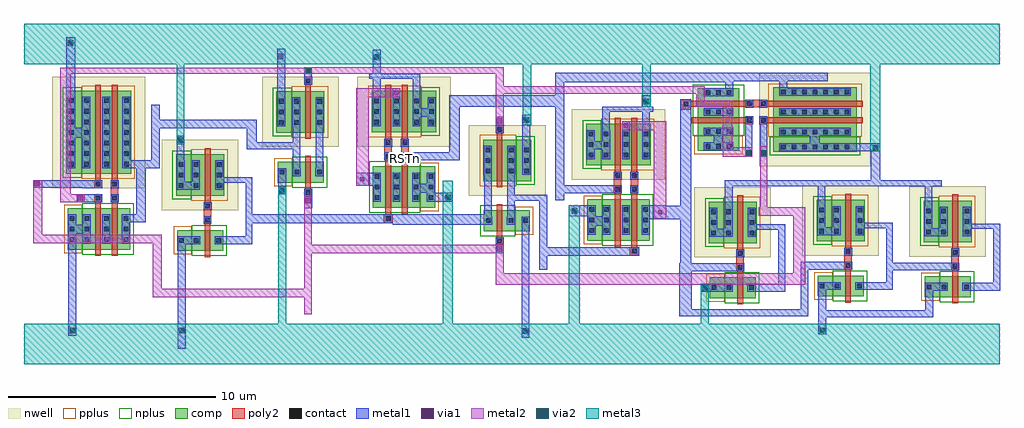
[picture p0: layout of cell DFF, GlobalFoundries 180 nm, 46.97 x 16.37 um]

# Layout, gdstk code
from math import pi, radians
import gdstk
lib = gdstk.Library(unit=1e-6, precision=5e-09)
def R(c, l, rs):  # rectangles x0, y0, x1, y1
    for r in rs: c.add(gdstk.rectangle(r[:2], r[2:], *l))
def A(c, l, x, y, w, h, nx, ny, dx, dy):  # array of equal rectangles
    R(c, l, [(x+i*dx, y+j*dy, x+i*dx+w, y+j*dy+h) for i in range(nx) for j in range(ny)])
nwell = (21, 0)
comp = (22, 0)
poly2 = (30, 0)
pplus = (31, 0)
nplus = (32, 0)
contact = (33, 0)
metal1 = (34, 0)
via1 = (35, 0)
metal2 = (36, 0)
via2 = (38, 0)
metal3 = (42, 0)

pfet_1 = lib.new_cell('pfet$1')
R(pfet_1, nwell, [(-11.885,-4.435,-8.195,-1.055)])
R(pfet_1, comp, [(-11.195,-3.745,-10.735,-1.745), (-10.735,-3.745,-10.075,-1.745), (-10.075,-3.745,-9.615,-1.745), (-9.615,-3.745,-8.885,-1.745)])
R(pfet_1, poly2, [(-10.545,-4.045,-10.265,-1.445), (-10.595,-1.445,-10.215,-1.065)])
R(pfet_1, pplus, [(-11.365,-3.985,-9.615,-1.505)])
R(pfet_1, nplus, [(-9.615,-3.915,-8.715,-1.575)])
A(pfet_1, contact, -11.075, -3.365, 0.22, 0.22, 1, 3, 0, 0.51)
A(pfet_1, contact, -9.955, -3.365, 0.22, 0.22, 1, 3, 0, 0.51)
A(pfet_1, contact, -9.225, -3.365, 0.22, 0.22, 1, 3, 0, 0.51)
R(pfet_1, contact, [(-10.515,-1.365,-10.295,-1.145)])
R(pfet_1, metal1, [(-11.155,-3.445,-10.775,-2.045), (-10.035,-3.445,-9.655,-2.045), (-9.305,-3.445,-8.925,-2.045), (-10.595,-1.445,-10.215,-1.065)])

nfet = lib.new_cell('nfet')
R(nfet, comp, [(-11.155,3.745,-10.735,4.745), (-10.735,3.745,-10.075,4.745), (-10.075,3.745,-9.655,4.745), (-9.655,3.745,-8.945,4.745)])
R(nfet, poly2, [(-10.545,3.445,-10.265,5.045), (-10.585,5.045,-10.225,5.405)])
R(nfet, pplus, [(-9.655,3.575,-8.775,4.915)])
R(nfet, nplus, [(-11.325,3.505,-9.655,4.985)])
R(nfet, contact, [(-11.055,4.135,-10.835,4.355), (-9.975,4.135,-9.755,4.355), (-9.265,4.135,-9.045,4.355), (-10.515,5.115,-10.295,5.335)])
R(nfet, metal1, [(-11.135,4.055,-10.755,4.435), (-10.055,4.055,-9.675,4.435), (-9.345,4.055,-8.965,4.435), (-10.595,5.035,-10.215,5.415)])

inv = lib.new_cell('INV')
R(inv, poly2, [(10.3,5.465,10.66,6.15)])
R(inv, metal1, [(9.42,4.115,9.75,4.495), (11.21,4.115,12.64,4.495), (12.325,4.115,12.64,7.35), (9.385,6.75,9.735,7.13), (10.855,7.09,12.64,7.35)])
inv.add(gdstk.Reference(pfet_1, (0.08,4.705), rotation=pi))
inv.add(gdstk.Reference(nfet, (0.075,0.06), rotation=pi, x_reflection=True))
inv.add(gdstk.Label('VDD', (9.53,6.88), layer=34, texttype=10))
inv.add(gdstk.Label('VSS', (9.545,4.325), layer=34, texttype=10))
inv.add(gdstk.Label('IN', (10.46,5.31), layer=34, texttype=10))
inv.add(gdstk.Label('OUT', (12.46,5.715), layer=34, texttype=10))

nfet_2 = lib.new_cell('nfet$2')
R(nfet_2, comp, [(14.065,-7.42,14.775,-6.42), (14.775,-7.42,15.195,-6.42), (15.195,-7.42,15.855,-6.42), (15.855,-7.42,16.275,-6.42)])
R(nfet_2, poly2, [(15.385,-7.72,15.665,-6.12), (15.345,-6.12,15.705,-5.76)])
R(nfet_2, pplus, [(13.895,-7.59,14.775,-6.25)])
R(nfet_2, nplus, [(14.775,-7.66,16.445,-6.18)])
R(nfet_2, contact, [(14.165,-7.03,14.385,-6.81), (14.875,-7.03,15.095,-6.81), (15.955,-7.03,16.175,-6.81), (15.415,-6.05,15.635,-5.83)])
R(nfet_2, metal1, [(14.085,-7.11,14.465,-6.73), (14.795,-7.11,15.175,-6.73), (15.875,-7.11,16.255,-6.73), (15.335,-6.13,15.715,-5.75)])

pfet_2 = lib.new_cell('pfet$2')
R(pfet_2, nwell, [(13.315,6.73,17.005,10.11)])
R(pfet_2, comp, [(14.005,7.42,14.735,9.42), (14.735,7.42,15.195,9.42), (15.195,7.42,15.855,9.42), (15.855,7.42,16.315,9.42)])
R(pfet_2, poly2, [(15.385,7.12,15.665,9.72), (15.335,9.72,15.715,10.1)])
R(pfet_2, pplus, [(14.735,7.18,16.485,9.66)])
R(pfet_2, nplus, [(13.835,7.25,14.735,9.59)])
A(pfet_2, contact, 14.125, 7.8, 0.22, 0.22, 1, 3, 0, 0.51)
A(pfet_2, contact, 14.855, 7.8, 0.22, 0.22, 1, 3, 0, 0.51)
A(pfet_2, contact, 15.975, 7.8, 0.22, 0.22, 1, 3, 0, 0.51)
R(pfet_2, contact, [(15.415,9.8,15.635,10.02)])
R(pfet_2, metal1, [(14.045,7.72,14.425,9.12), (14.775,7.72,15.155,9.12), (15.895,7.72,16.275,9.12), (15.335,9.72,15.715,10.1)])

tgate = lib.new_cell('TGATE')
R(tgate, metal1, [(13.89,6.535,14.26,7.4), (14.59,7.78,14.95,9.79), (15.69,7.78,16.05,9.84), (13.84,11.19,14.22,12.18)])
tgate.add(gdstk.Reference(nfet_2, (-0.205,0.67), x_reflection=True))
tgate.add(gdstk.Reference(pfet_2, (-0.205,2.07)))
tgate.add(gdstk.Label('CLKN', (15.25,11.9), layer=34, texttype=10))
tgate.add(gdstk.Label('CLK', (15.275,6.55), layer=34, texttype=10))
tgate.add(gdstk.Label('VDD', (14.045,11.94), layer=34, texttype=10))
tgate.add(gdstk.Label('VSS', (14.11,6.725), layer=34, texttype=10))
tgate.add(gdstk.Label('OUT', (14.805,8.635), layer=34, texttype=10))
tgate.add(gdstk.Label('IN', (15.9,8.605), layer=34, texttype=10))

nfet_1_1 = lib.new_cell('nfet$1$1')
R(nfet_1_1, comp, [(-20.95,7.41,-20.24,9.41), (-20.24,7.41,-19.82,9.41), (-19.82,7.41,-18.36,9.41), (-18.36,7.41,-17.94,9.41)])
R(nfet_1_1, poly2, [(-19.63,7.11,-19.35,9.71), (-18.83,7.11,-18.55,9.71), (-19.67,9.71,-19.31,10.07), (-18.87,9.71,-18.51,10.07)])
R(nfet_1_1, pplus, [(-21.12,7.24,-20.24,9.58)])
R(nfet_1_1, nplus, [(-20.24,7.17,-17.77,9.65)])
A(nfet_1_1, contact, -20.85, 7.79, 0.22, 0.22, 1, 3, 0, 0.51)
A(nfet_1_1, contact, -20.14, 7.79, 0.22, 0.22, 3, 3, 0.94, 0.51)
R(nfet_1_1, contact, [(-19.6,9.78,-19.38,10), (-18.8,9.78,-18.58,10)])
A(nfet_1_1, metal1, -20.22, 7.71, 0.38, 1.4, 3, 1, 0.94, 0)
R(nfet_1_1, metal1, [(-20.93,7.71,-20.55,9.11), (-19.68,9.7,-19.3,10.08), (-18.88,9.7,-18.5,10.08)])

pfet_1_1 = lib.new_cell('pfet$1$1')
R(pfet_1_1, nwell, [(-21.7,-8.1,-17.21,-4.72)])
R(pfet_1_1, comp, [(-21.01,-7.41,-20.28,-5.41), (-20.28,-7.41,-19.82,-5.41), (-19.82,-7.41,-18.36,-5.41), (-18.36,-7.41,-17.9,-5.41)])
R(pfet_1_1, poly2, [(-19.63,-7.71,-19.35,-5.11), (-18.83,-7.71,-18.55,-5.11), (-19.68,-5.11,-19.3,-4.73), (-18.88,-5.11,-18.5,-4.73)])
R(pfet_1_1, pplus, [(-20.28,-7.65,-17.73,-5.17)])
R(pfet_1_1, nplus, [(-21.18,-7.58,-20.28,-5.24)])
A(pfet_1_1, contact, -20.89, -7.03, 0.22, 0.22, 1, 3, 0, 0.51)
A(pfet_1_1, contact, -20.16, -7.03, 0.22, 0.22, 3, 3, 0.96, 0.51)
R(pfet_1_1, contact, [(-19.6,-5.03,-19.38,-4.81), (-18.8,-5.03,-18.58,-4.81)])
A(pfet_1_1, metal1, -20.24, -7.11, 0.38, 1.4, 3, 1, 0.96, 0)
R(pfet_1_1, metal1, [(-20.97,-7.11,-20.59,-5.71), (-19.68,-5.11,-19.3,-4.73), (-18.88,-5.11,-18.5,-4.73)])

nand2 = lib.new_cell('NAND2')
R(nand2, poly2, [(18.995,8.53,19.355,9.2), (19.795,8.53,20.155,9.2)])
R(nand2, metal1, [(20.325,6.595,21.415,7.04), (17.63,6.925,18.825,7.57), (20.345,10.265,21.455,10.655), (18.425,11.2,18.805,12.32), (19.385,11.2,19.765,11.63), (20.355,11.2,20.725,12.32), (18.255,12.085,20.725,12.32)])
R(nand2, via1, [(17.83,7.14,18.03,7.34), (19.475,11.315,19.675,11.515)])
R(nand2, metal2, [(17.63,6.925,18.23,9.205), (17.63,9.205,18.23,11.625), (17.695,11.195,19.765,11.63)])
nand2.add(gdstk.Reference(nfet_1_1, (0.485,-1.54), rotation=pi, x_reflection=True))
nand2.add(gdstk.Reference(pfet_1_1, (0.485,4.09), rotation=pi))
nand2.add(gdstk.Label('IN0', (19.975,8.655), layer=34, texttype=10))
nand2.add(gdstk.Label('IN1', (19.305,8.695), layer=34, texttype=10))
nand2.add(gdstk.Label('VDD', (21,10.465), layer=34, texttype=10))
nand2.add(gdstk.Label('VSS', (20.91,6.78), layer=34, texttype=10))
nand2.add(gdstk.Label('OUT', (18.005,9.455), layer=36, texttype=10))

nfet_3 = lib.new_cell('nfet$3')
R(nfet_3, comp, [(23.99,-5.085,24.41,-4.085), (24.41,-5.085,25.07,-4.085), (25.07,-5.085,25.49,-4.085), (25.49,-5.085,26.2,-4.085)])
R(nfet_3, poly2, [(24.6,-5.385,24.88,-3.785), (24.56,-3.785,24.92,-3.425)])
R(nfet_3, pplus, [(25.49,-5.255,26.37,-3.915)])
R(nfet_3, nplus, [(23.82,-5.325,25.49,-3.845)])
R(nfet_3, contact, [(24.09,-4.695,24.31,-4.475), (25.17,-4.695,25.39,-4.475), (25.88,-4.695,26.1,-4.475), (24.63,-3.715,24.85,-3.495)])
R(nfet_3, metal1, [(24.01,-4.775,24.39,-4.395), (25.09,-4.775,25.47,-4.395), (25.8,-4.775,26.18,-4.395), (24.55,-3.795,24.93,-3.415)])

pfet_3 = lib.new_cell('pfet$3')
R(pfet_3, nwell, [(23.26,4.395,26.95,7.775)])
R(pfet_3, comp, [(23.95,5.085,24.41,7.085), (24.41,5.085,25.07,7.085), (25.07,5.085,25.53,7.085), (25.53,5.085,26.26,7.085)])
R(pfet_3, poly2, [(24.6,4.785,24.88,7.385), (24.55,7.385,24.93,7.765)])
R(pfet_3, pplus, [(23.78,4.845,25.53,7.325)])
R(pfet_3, nplus, [(25.53,4.915,26.43,7.255)])
A(pfet_3, contact, 24.07, 5.465, 0.22, 0.22, 1, 3, 0, 0.51)
A(pfet_3, contact, 25.19, 5.465, 0.22, 0.22, 1, 3, 0, 0.51)
A(pfet_3, contact, 25.92, 5.465, 0.22, 0.22, 1, 3, 0, 0.51)
R(pfet_3, contact, [(24.63,7.465,24.85,7.685)])
R(pfet_3, metal1, [(23.99,5.385,24.37,6.785), (25.11,5.385,25.49,6.785), (25.84,5.385,26.22,6.785), (24.55,7.385,24.93,7.765)])

tgate_1 = lib.new_cell('TGATE$1')
R(tgate_1, metal1, [(25.595,4.2,25.965,5.065), (23.805,5.445,24.165,7.505), (24.905,5.445,25.265,7.455), (25.635,8.855,26.015,9.845)])
tgate_1.add(gdstk.Reference(nfet_3, (-0.205,0.67), x_reflection=True))
tgate_1.add(gdstk.Reference(pfet_3, (-0.205,2.07)))
tgate_1.add(gdstk.Label('CLKN', (24.475,9.535), layer=34, texttype=10))
tgate_1.add(gdstk.Label('CLK', (24.525,4.245), layer=34, texttype=10))
tgate_1.add(gdstk.Label('IN', (23.955,6.27), layer=34, texttype=10))
tgate_1.add(gdstk.Label('OUT', (25.05,6.3), layer=34, texttype=10))
tgate_1.add(gdstk.Label('VSS', (25.745,4.39), layer=34, texttype=10))
tgate_1.add(gdstk.Label('VDD', (25.81,9.605), layer=34, texttype=10))

nfet_1_2 = lib.new_cell('nfet$1$2')
R(nfet_1_2, comp, [(-31.285,5.825,-30.865,7.825), (-30.865,5.825,-29.405,7.825), (-29.405,5.825,-28.985,7.825), (-28.985,5.825,-28.275,7.825)])
R(nfet_1_2, poly2, [(-30.675,5.525,-30.395,8.125), (-29.875,5.525,-29.595,8.125), (-30.715,8.125,-30.355,8.485), (-29.915,8.125,-29.555,8.485)])
R(nfet_1_2, pplus, [(-28.985,5.655,-28.105,7.995)])
R(nfet_1_2, nplus, [(-31.455,5.585,-28.985,8.065)])
A(nfet_1_2, contact, -31.185, 6.205, 0.22, 0.22, 3, 3, 0.94, 0.51)
A(nfet_1_2, contact, -28.595, 6.205, 0.22, 0.22, 1, 3, 0, 0.51)
R(nfet_1_2, contact, [(-30.645,8.195,-30.425,8.415), (-29.845,8.195,-29.625,8.415)])
A(nfet_1_2, metal1, -31.265, 6.125, 0.38, 1.4, 3, 1, 0.94, 0)
R(nfet_1_2, metal1, [(-28.675,6.125,-28.295,7.525), (-30.725,8.115,-30.345,8.495), (-29.925,8.115,-29.545,8.495)])

pfet_1_2 = lib.new_cell('pfet$1$2')
R(pfet_1_2, nwell, [(-32.015,-6.515,-27.525,-3.135)])
R(pfet_1_2, comp, [(-31.325,-5.825,-30.865,-3.825), (-30.865,-5.825,-29.405,-3.825), (-29.405,-5.825,-28.945,-3.825), (-28.945,-5.825,-28.215,-3.825)])
R(pfet_1_2, poly2, [(-30.675,-6.125,-30.395,-3.525), (-29.875,-6.125,-29.595,-3.525), (-30.725,-3.525,-30.345,-3.145), (-29.925,-3.525,-29.545,-3.145)])
R(pfet_1_2, pplus, [(-31.495,-6.065,-28.945,-3.585)])
R(pfet_1_2, nplus, [(-28.945,-5.995,-28.045,-3.655)])
A(pfet_1_2, contact, -31.205, -5.445, 0.22, 0.22, 3, 3, 0.96, 0.51)
A(pfet_1_2, contact, -28.555, -5.445, 0.22, 0.22, 1, 3, 0, 0.51)
R(pfet_1_2, contact, [(-30.645,-3.445,-30.425,-3.225), (-29.845,-3.445,-29.625,-3.225)])
A(pfet_1_2, metal1, -31.285, -5.525, 0.38, 1.4, 3, 1, 0.96, 0)
R(pfet_1_2, metal1, [(-28.635,-5.525,-28.255,-4.125), (-30.725,-3.525,-30.345,-3.145), (-29.925,-3.525,-29.545,-3.145)])

nand2_1 = lib.new_cell('NAND2$1')
R(nand2_1, poly2, [(30.04,6.945,30.4,7.615), (30.84,6.945,31.2,7.615)])
R(nand2_1, metal1, [(28.78,5.01,29.87,5.455), (31.37,5.34,32.565,5.985), (28.74,8.68,29.85,9.07), (29.47,9.615,29.84,10.735), (30.43,9.615,30.81,10.045), (31.39,9.615,31.77,10.735), (29.47,10.5,31.94,10.735)])
R(nand2_1, via1, [(32.165,5.555,32.365,5.755), (30.52,9.73,30.72,9.93)])
R(nand2_1, metal2, [(31.965,5.34,32.565,7.62), (31.965,7.62,32.565,10.04), (30.43,9.61,32.5,10.045)])
nand2_1.add(gdstk.Reference(nfet_1_2, (0.485,-1.54), rotation=pi, x_reflection=True))
nand2_1.add(gdstk.Reference(pfet_1_2, (0.485,4.09), rotation=pi))
nand2_1.add(gdstk.Label('IN0', (30.22,7.07), layer=34, texttype=10))
nand2_1.add(gdstk.Label('IN1', (30.89,7.11), layer=34, texttype=10))
nand2_1.add(gdstk.Label('VDD', (29.195,8.88), layer=34, texttype=10))
nand2_1.add(gdstk.Label('VSS', (29.285,5.195), layer=34, texttype=10))
nand2_1.add(gdstk.Label('OUT', (32.19,7.87), layer=36, texttype=10))

pfet_4 = lib.new_cell('pfet$4')
R(pfet_4, nwell, [(-37.515,-2.16,-33.825,1.22)])
R(pfet_4, comp, [(-36.825,-1.47,-36.365,0.53), (-36.365,-1.47,-35.705,0.53), (-35.705,-1.47,-35.245,0.53), (-35.245,-1.47,-34.515,0.53)])
R(pfet_4, poly2, [(-36.175,-1.77,-35.895,0.83), (-36.225,0.83,-35.845,1.21)])
R(pfet_4, pplus, [(-36.995,-1.71,-35.245,0.77)])
R(pfet_4, nplus, [(-35.245,-1.64,-34.345,0.7)])
A(pfet_4, contact, -36.705, -1.09, 0.22, 0.22, 1, 3, 0, 0.51)
A(pfet_4, contact, -35.585, -1.09, 0.22, 0.22, 1, 3, 0, 0.51)
A(pfet_4, contact, -34.855, -1.09, 0.22, 0.22, 1, 3, 0, 0.51)
R(pfet_4, contact, [(-36.145,0.91,-35.925,1.13)])
R(pfet_4, metal1, [(-36.785,-1.17,-36.405,0.23), (-35.665,-1.17,-35.285,0.23), (-34.935,-1.17,-34.555,0.23), (-36.225,0.83,-35.845,1.21)])

nfet_4 = lib.new_cell('nfet$4')
R(nfet_4, comp, [(-36.785,1.47,-36.365,2.47), (-36.365,1.47,-35.705,2.47), (-35.705,1.47,-35.285,2.47), (-35.285,1.47,-34.575,2.47)])
R(nfet_4, poly2, [(-36.175,1.17,-35.895,2.77), (-36.215,2.77,-35.855,3.13)])
R(nfet_4, pplus, [(-35.285,1.3,-34.405,2.64)])
R(nfet_4, nplus, [(-36.955,1.23,-35.285,2.71)])
R(nfet_4, contact, [(-36.685,1.86,-36.465,2.08), (-35.605,1.86,-35.385,2.08), (-34.895,1.86,-34.675,2.08), (-36.145,2.84,-35.925,3.06)])
R(nfet_4, metal1, [(-36.765,1.78,-36.385,2.16), (-35.685,1.78,-35.305,2.16), (-34.975,1.78,-34.595,2.16), (-36.225,2.76,-35.845,3.14)])

inv_1 = lib.new_cell('INV$1')
R(inv_1, poly2, [(35.93,3.19,36.29,3.875)])
R(inv_1, metal1, [(35.05,1.84,35.38,2.22), (36.84,1.84,38.27,2.22), (37.955,1.84,38.27,5.075), (35.015,4.475,35.365,4.855), (36.485,4.815,38.27,5.075)])
inv_1.add(gdstk.Reference(pfet_4, (0.08,4.705), rotation=pi))
inv_1.add(gdstk.Reference(nfet_4, (0.075,0.06), rotation=pi, x_reflection=True))
inv_1.add(gdstk.Label('VDD', (35.16,4.605), layer=34, texttype=10))
inv_1.add(gdstk.Label('VSS', (35.175,2.05), layer=34, texttype=10))
inv_1.add(gdstk.Label('IN', (36.09,3.035), layer=34, texttype=10))
inv_1.add(gdstk.Label('Qb', (38.09,3.44), layer=34, texttype=10))

pfet_5 = lib.new_cell('pfet$5')
R(pfet_5, nwell, [(-42.71,-2.24,-39.02,1.14)])
R(pfet_5, comp, [(-42.02,-1.55,-41.56,0.45), (-41.56,-1.55,-40.9,0.45), (-40.9,-1.55,-40.44,0.45), (-40.44,-1.55,-39.71,0.45)])
R(pfet_5, poly2, [(-41.37,-1.85,-41.09,0.75), (-41.42,0.75,-41.04,1.13)])
R(pfet_5, pplus, [(-42.19,-1.79,-40.44,0.69)])
R(pfet_5, nplus, [(-40.44,-1.72,-39.54,0.62)])
A(pfet_5, contact, -41.9, -1.17, 0.22, 0.22, 1, 3, 0, 0.51)
A(pfet_5, contact, -40.78, -1.17, 0.22, 0.22, 1, 3, 0, 0.51)
A(pfet_5, contact, -40.05, -1.17, 0.22, 0.22, 1, 3, 0, 0.51)
R(pfet_5, contact, [(-41.34,0.83,-41.12,1.05)])
R(pfet_5, metal1, [(-41.98,-1.25,-41.6,0.15), (-40.86,-1.25,-40.48,0.15), (-40.13,-1.25,-39.75,0.15), (-41.42,0.75,-41.04,1.13)])

nfet_5 = lib.new_cell('nfet$5')
R(nfet_5, comp, [(-41.98,1.55,-41.56,2.55), (-41.56,1.55,-40.9,2.55), (-40.9,1.55,-40.48,2.55), (-40.48,1.55,-39.77,2.55)])
R(nfet_5, poly2, [(-41.37,1.25,-41.09,2.85), (-41.41,2.85,-41.05,3.21)])
R(nfet_5, pplus, [(-40.48,1.38,-39.6,2.72)])
R(nfet_5, nplus, [(-42.15,1.31,-40.48,2.79)])
R(nfet_5, contact, [(-41.88,1.94,-41.66,2.16), (-40.8,1.94,-40.58,2.16), (-40.09,1.94,-39.87,2.16), (-41.34,2.92,-41.12,3.14)])
R(nfet_5, metal1, [(-41.96,1.86,-41.58,2.24), (-40.88,1.86,-40.5,2.24), (-40.17,1.86,-39.79,2.24), (-41.42,2.84,-41.04,3.22)])

inv_2 = lib.new_cell('INV$2')
R(inv_2, poly2, [(41.125,3.27,41.485,3.955)])
R(inv_2, metal1, [(40.245,1.92,40.575,2.3), (42.035,1.92,43.465,2.3), (43.15,1.92,43.465,5.155), (40.21,4.555,40.56,4.935), (41.68,4.895,43.465,5.155)])
inv_2.add(gdstk.Reference(pfet_5, (0.08,4.705), rotation=pi))
inv_2.add(gdstk.Reference(nfet_5, (0.075,0.06), rotation=pi, x_reflection=True))
inv_2.add(gdstk.Label('VDD', (40.355,4.685), layer=34, texttype=10))
inv_2.add(gdstk.Label('VSS', (40.37,2.13), layer=34, texttype=10))
inv_2.add(gdstk.Label('IN', (41.285,3.115), layer=34, texttype=10))
inv_2.add(gdstk.Label('OUT', (43.285,3.52), layer=34, texttype=10))

pfet_6 = lib.new_cell('pfet$6')
R(pfet_6, nwell, [(-47.86,-2.2,-44.17,1.18)])
R(pfet_6, comp, [(-47.17,-1.51,-46.71,0.49), (-46.71,-1.51,-46.05,0.49), (-46.05,-1.51,-45.59,0.49), (-45.59,-1.51,-44.86,0.49)])
R(pfet_6, poly2, [(-46.52,-1.81,-46.24,0.79), (-46.57,0.79,-46.19,1.17)])
R(pfet_6, pplus, [(-47.34,-1.75,-45.59,0.73)])
R(pfet_6, nplus, [(-45.59,-1.68,-44.69,0.66)])
A(pfet_6, contact, -47.05, -1.13, 0.22, 0.22, 1, 3, 0, 0.51)
A(pfet_6, contact, -45.93, -1.13, 0.22, 0.22, 1, 3, 0, 0.51)
A(pfet_6, contact, -45.2, -1.13, 0.22, 0.22, 1, 3, 0, 0.51)
R(pfet_6, contact, [(-46.49,0.87,-46.27,1.09)])
R(pfet_6, metal1, [(-47.13,-1.21,-46.75,0.19), (-46.01,-1.21,-45.63,0.19), (-45.28,-1.21,-44.9,0.19), (-46.57,0.79,-46.19,1.17)])

nfet_6 = lib.new_cell('nfet$6')
R(nfet_6, comp, [(-47.13,1.51,-46.71,2.51), (-46.71,1.51,-46.05,2.51), (-46.05,1.51,-45.63,2.51), (-45.63,1.51,-44.92,2.51)])
R(nfet_6, poly2, [(-46.52,1.21,-46.24,2.81), (-46.56,2.81,-46.2,3.17)])
R(nfet_6, pplus, [(-45.63,1.34,-44.75,2.68)])
R(nfet_6, nplus, [(-47.3,1.27,-45.63,2.75)])
R(nfet_6, contact, [(-47.03,1.9,-46.81,2.12), (-45.95,1.9,-45.73,2.12), (-45.24,1.9,-45.02,2.12), (-46.49,2.88,-46.27,3.1)])
R(nfet_6, metal1, [(-47.11,1.82,-46.73,2.2), (-46.03,1.82,-45.65,2.2), (-45.32,1.82,-44.94,2.2), (-46.57,2.8,-46.19,3.18)])

inv_3 = lib.new_cell('INV$3')
R(inv_3, poly2, [(46.275,3.23,46.635,3.915)])
R(inv_3, metal1, [(45.395,1.88,45.725,2.26), (47.185,1.88,48.615,2.26), (48.3,1.88,48.615,5.115), (45.36,4.515,45.71,4.895), (46.83,4.855,48.615,5.115)])
inv_3.add(gdstk.Reference(pfet_6, (0.08,4.705), rotation=pi))
inv_3.add(gdstk.Reference(nfet_6, (0.075,0.06), rotation=pi, x_reflection=True))
inv_3.add(gdstk.Label('VDD', (45.505,4.645), layer=34, texttype=10))
inv_3.add(gdstk.Label('VSS', (45.52,2.09), layer=34, texttype=10))
inv_3.add(gdstk.Label('IN', (46.435,3.075), layer=34, texttype=10))
inv_3.add(gdstk.Label('Q', (48.435,3.48), layer=34, texttype=10))

nfet_1 = lib.new_cell('nfet$1')
R(nfet_1, comp, [(-29.725,4.77,-27.725,5.48), (-29.725,5.48,-27.725,5.9), (-29.725,5.9,-27.725,7.36), (-29.725,7.36,-27.725,7.78)])
R(nfet_1, poly2, [(-30.385,6.05,-30.025,6.41), (-30.025,6.09,-27.425,6.37), (-30.385,6.85,-30.025,7.21), (-30.025,6.89,-27.425,7.17)])
R(nfet_1, pplus, [(-29.895,4.6,-27.555,5.48)])
R(nfet_1, nplus, [(-29.965,5.48,-27.485,7.95)])
A(nfet_1, contact, -29.345, 4.87, 0.22, 0.22, 3, 2, 0.51, 0.71)
A(nfet_1, contact, -29.345, 6.52, 0.22, 0.22, 3, 2, 0.51, 0.94)
R(nfet_1, contact, [(-30.315,6.12,-30.095,6.34), (-30.315,6.92,-30.095,7.14)])
A(nfet_1, metal1, -29.425, 5.5, 1.4, 0.38, 1, 3, 0, 0.94)
R(nfet_1, metal1, [(-29.425,4.79,-28.025,5.17), (-30.395,6.04,-30.015,6.42), (-30.395,6.84,-30.015,7.22)])

pfet = lib.new_cell('pfet')
R(pfet, nwell, [(-36.06,-0.865,-30.68,3.625)])
R(pfet, comp, [(-35.37,-0.175,-31.37,0.285), (-35.37,0.285,-31.37,1.745), (-35.37,1.745,-31.37,2.205), (-35.37,2.205,-31.37,2.935)])
R(pfet, poly2, [(-31.07,0.425,-30.69,0.805), (-35.67,0.475,-31.07,0.755), (-31.07,1.225,-30.69,1.605), (-35.67,1.275,-31.07,1.555)])
R(pfet, pplus, [(-35.61,-0.345,-31.13,2.205)])
R(pfet, nplus, [(-35.54,2.205,-31.2,3.105)])
A(pfet, contact, -35.01, -0.055, 0.22, 0.22, 7, 3, 0.51, 0.96)
A(pfet, contact, -35.01, 2.595, 0.22, 0.22, 7, 1, 0.51, 0)
R(pfet, contact, [(-30.99,0.505,-30.77,0.725), (-30.99,1.305,-30.77,1.525)])
A(pfet, metal1, -35.09, -0.135, 3.44, 0.38, 1, 3, 0, 0.96)
R(pfet, metal1, [(-31.07,0.425,-30.69,0.805), (-31.07,1.225,-30.69,1.605), (-35.09,2.515,-31.65,2.895)])

tri_state_inv = lib.new_cell('TRI_STATE_INV')
R(tri_state_inv, poly2, [(36.37,10.705,37.415,11.065)])
R(tri_state_inv, metal1, [(39.46,8.605,39.94,9.715), (34.83,8.645,35.265,9.735), (35.385,11.235,35.77,12.37), (37.995,11.255,38.385,12.365)])
tri_state_inv.add(gdstk.Reference(nfet_1, (6.345,3.855), rotation=pi, x_reflection=True))
tri_state_inv.add(gdstk.Reference(pfet, (6.345,11.5), rotation=pi))
tri_state_inv.add(gdstk.Label('CLK', (37.195,10.16), layer=34, texttype=10))
tri_state_inv.add(gdstk.Label('CLKN', (36.525,10.1), layer=34, texttype=10))
tri_state_inv.add(gdstk.Label('VSS', (34.975,9.135), layer=34, texttype=10))
tri_state_inv.add(gdstk.Label('VDD', (39.69,9.175), layer=34, texttype=10))
tri_state_inv.add(gdstk.Label('OUT', (37.56,12.1), layer=34, texttype=10))
tri_state_inv.add(gdstk.Label('IN', (36.84,10.835), layer=34, texttype=10))

nfet_1_3 = lib.new_cell('nfet$1$3')
R(nfet_1_3, comp, [(-0.42,0,0,2), (0,0,1.46,2), (1.46,0,1.88,2), (1.88,0,2.59,2)])
R(nfet_1_3, poly2, [(0.19,-0.3,0.47,2.3), (0.99,-0.3,1.27,2.3), (0.15,2.3,0.51,2.66), (0.95,2.3,1.31,2.66)])
R(nfet_1_3, pplus, [(1.88,-0.17,2.76,2.17)])
R(nfet_1_3, nplus, [(-0.59,-0.24,1.88,2.24)])
A(nfet_1_3, contact, -0.32, 0.38, 0.22, 0.22, 3, 3, 0.94, 0.51)
A(nfet_1_3, contact, 2.27, 0.38, 0.22, 0.22, 1, 3, 0, 0.51)
R(nfet_1_3, contact, [(0.22,2.37,0.44,2.59), (1.02,2.37,1.24,2.59)])
A(nfet_1_3, metal1, -0.4, 0.3, 0.38, 1.4, 3, 1, 0.94, 0)
R(nfet_1_3, metal1, [(2.19,0.3,2.57,1.7), (0.14,2.29,0.52,2.67), (0.94,2.29,1.32,2.67)])

pfet_7 = lib.new_cell('pfet$7')
R(pfet_7, nwell, [(-1.15,-0.69,3.34,4.69)])
R(pfet_7, comp, [(-0.46,0,0,4), (0,0,1.46,4), (1.46,0,1.92,4), (1.92,0,2.65,4)])
R(pfet_7, poly2, [(0.19,-0.3,0.47,4.3), (0.99,-0.3,1.27,4.3), (0.14,4.3,0.52,4.68), (0.94,4.3,1.32,4.68)])
R(pfet_7, pplus, [(-0.63,-0.24,1.92,4.24)])
R(pfet_7, nplus, [(1.92,-0.17,2.82,4.17)])
A(pfet_7, contact, -0.34, 0.36, 0.22, 0.22, 3, 7, 0.96, 0.51)
A(pfet_7, contact, 2.31, 0.36, 0.22, 0.22, 1, 7, 0, 0.51)
R(pfet_7, contact, [(0.22,4.38,0.44,4.6), (1.02,4.38,1.24,4.6)])
A(pfet_7, metal1, -0.42, 0.28, 0.38, 3.44, 3, 1, 0.96, 0)
R(pfet_7, metal1, [(2.23,0.28,2.61,3.72), (0.14,4.3,0.52,4.68), (0.94,4.3,1.32,4.68)])

tri_state_inv_1 = lib.new_cell('TRI_STATE_INV$1')
R(tri_state_inv_1, poly2, [(5.835,6.155,6.195,7.2)])
R(tri_state_inv_1, metal1, [(3.775,4.615,4.865,5.05), (6.365,5.17,7.5,5.555), (7.06,5.17,7.5,8.165), (6.385,7.78,7.495,8.17), (3.735,9.245,4.845,9.725)])
tri_state_inv_1.add(gdstk.Reference(nfet_1_3, (6.345,3.855), rotation=pi, x_reflection=True))
tri_state_inv_1.add(gdstk.Reference(pfet_7, (6.345,11.5), rotation=pi))
tri_state_inv_1.add(gdstk.Label('CLKN', (5.15,6.205), layer=34, texttype=10))
tri_state_inv_1.add(gdstk.Label('CLK', (5.16,6.98), layer=34, texttype=10))
tri_state_inv_1.add(gdstk.Label('IN', (5.965,6.625), layer=34, texttype=10))
tri_state_inv_1.add(gdstk.Label('OUT', (7.23,7.345), layer=34, texttype=10))
tri_state_inv_1.add(gdstk.Label('VDD', (4.305,9.475), layer=34, texttype=10))
tri_state_inv_1.add(gdstk.Label('VSS', (4.265,4.76), layer=34, texttype=10))

dff = lib.new_cell('DFF')
R(dff, poly2, [(30.795,3.57,31.25,3.985), (18.965,5.14,19.39,5.57), (33.22,10.595,33.77,11.105)])
R(dff, contact, [(30.915,3.675,31.135,3.895), (19.07,5.245,19.29,5.465), (33.395,10.75,33.615,10.97)])
R(dff, metal1, [(9.04,-0.915,9.425,4.115), (25.595,-0.39,25.97,4.2), (3.775,-0.29,4.155,4.155), (39.865,-0.205,40.245,2.3), (39.865,0.615,45.4,0.95), (45.015,0.615,45.4,2.26), (33.185,0.645,39.38,0.985), (33.185,0.645,33.785,3.2), (39.025,0.645,39.38,3.26), (34.21,1.84,34.67,2.215), (33.225,2.625,33.765,5.315), (33.225,2.815,36.3,3.2), (43.15,2.86,46.645,3.24), (39.025,2.89,41.495,3.28), (26.44,2.9,26.83,6.51), (26.44,3.56,31.25,3.985), (24.345,3.695,24.73,4.465), (19.39,5.065,24.16,5.57), (12.325,5.14,19.39,5.57), (31.37,5.315,33.765,5.98), (33.22,5.315,33.765,11.105), (27.875,5.46,29.16,5.985), (15.13,5.84,15.515,6.42), (35.365,5.875,35.75,7.205), (44.99,5.915,45.36,7.205), (39.835,5.955,40.21,7.205), (4.195,6.145,5.405,6.525), (21.035,6.17,22.265,6.59), (24.905,6.21,26.83,6.51), (27.22,6.235,27.65,11.285), (27.22,6.575,30.41,6.96), (4.48,6.82,5.025,7.2), (2.1,6.84,4.48,7.2), (35.365,6.905,45.8,7.205), (42.395,6.905,42.845,8.605), (7.5,7.785,8.175,8.165), (7.765,7.785,8.175,10.83), (9.005,8.15,9.365,9.335), (19.785,8.155,22.62,8.54), (22.125,8.155,22.62,11.285), (36.36,8.34,36.69,9.895), (37.085,8.34,37.415,9.895), (41.435,8.605,42.845,8.985), (12.38,8.68,12.86,10.105), (12.38,8.68,14.59,9.02), (7.765,9.695,12.86,10.105), (24.345,9.835,24.725,10.265), (25.635,9.845,26.05,10.35), (27.22,10.03,27.65,12.37), (22.145,10.73,27.65,11.285), (31.38,10.735,31.815,11.28), (3.695,11.22,4.115,14.085), (27.22,11.925,35.385,12.37), (35.385,11.965,37.995,12.37), (38.385,11.975,40.32,12.365), (15.13,12.17,15.5,12.61), (13.84,12.18,14.22,13.52), (18.43,12.32,18.805,13.47)])
R(dff, via1, [(25.65,-0.185,25.91,0.075), (9.115,-0.165,9.375,0.095), (3.845,-0.155,4.105,0.105), (39.95,-0.15,40.21,0.11), (34.29,1.89,34.55,2.15), (24.395,3.77,24.655,4.03), (28.02,5.59,28.28,5.85), (15.195,6.09,15.455,6.35), (4.23,6.215,4.49,6.475), (21.92,6.235,22.18,6.495), (13.94,6.575,14.2,6.835), (2.15,6.9,2.41,7.16), (42.495,8.635,42.755,8.895), (9.055,9,9.315,9.26), (24.4,9.915,24.66,10.175), (25.705,9.975,25.965,10.235), (31.46,10.85,31.72,11.11), (15.22,12.34,15.48,12.6), (18.485,13.005,18.745,13.265), (13.87,13.025,14.13,13.285), (3.77,13.67,4.03,13.93)])
R(dff, metal2, [(15.13,0.74,15.505,6.42), (7.835,1.58,8.285,4.575), (7.835,1.58,15.505,1.975), (24.345,2.18,24.73,3.695), (24.345,2.18,38.66,2.715), (38.66,2.18,39.245,5.905), (15.13,3.695,24.73,4.1), (2.1,4.175,2.54,7.2), (2.1,4.175,8.285,4.575), (36.995,5.485,39.245,5.905), (37.085,5.485,37.42,8.84), (3.39,6.145,4.565,6.525), (3.39,6.145,3.895,12.315), (35.265,8.34,36.69,8.78), (35.265,8.34,35.735,11.025), (24.345,9.835,24.73,12.63), (34.01,10.745,35.735,11.025), (34.01,10.745,34.4,11.725), (24.345,11.35,34.385,11.725), (3.39,12.315,15.5,12.61), (15.135,12.315,24.73,12.63)])
R(dff, via2, [(25.645,-0.185,25.905,0.075), (9.11,-0.165,9.37,0.095), (3.84,-0.155,4.1,0.105), (39.945,-0.15,40.205,0.11), (34.285,1.89,34.545,2.15), (28.015,5.59,28.275,5.85), (21.915,6.235,22.175,6.495), (13.935,6.575,14.195,6.835), (36.395,8.38,36.655,8.64), (37.12,8.39,37.38,8.65), (42.49,8.635,42.75,8.895), (9.05,9,9.31,9.26), (25.7,9.975,25.96,10.235), (31.455,10.85,31.715,11.11), (15.215,12.34,15.475,12.6), (18.48,13.005,18.74,13.265), (3.765,13.67,4.025,13.93)])
R(dff, metal3, [(1.65,-1.645,48.6,0.285), (21.795,-1.475,22.285,7.185), (13.89,-0.91,14.26,6.92), (34.21,-0.305,34.61,2.215), (27.875,-0.25,28.4,5.985), (42.37,8.605,42.845,13.91), (9.005,8.94,9.37,13.275), (25.65,9.845,26.05,13.905), (31.395,10.735,31.8,13.74), (1.65,12.79,48.6,14.72)])
dff.add(gdstk.Reference(inv, (0,0)))
dff.add(gdstk.Reference(tgate, (0,0)))
dff.add(gdstk.Reference(nand2, (0,0)))
dff.add(gdstk.Reference(tgate_1, (0,0)))
dff.add(gdstk.Reference(nand2_1, (0,0)))
dff.add(gdstk.Reference(inv_1, (0,0)))
dff.add(gdstk.Reference(inv_2, (0,0)))
dff.add(gdstk.Reference(inv_3, (0,0)))
dff.add(gdstk.Reference(tri_state_inv, (0,0)))
dff.add(gdstk.Reference(tri_state_inv_1, (0,0)))
dff.add(gdstk.Label('RSTn', (20.005,8.24), layer=34, texttype=10))

lib.write_gds('DFF.gds')
